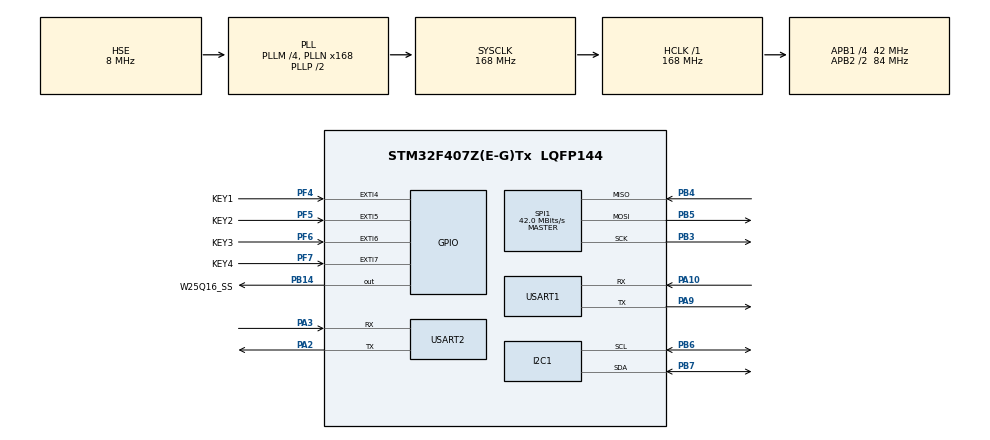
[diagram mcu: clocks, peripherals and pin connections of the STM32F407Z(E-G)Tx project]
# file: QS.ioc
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Dma.Request0=USART1_RX
Dma.Request1=USART1_TX
Dma.Request2=USART2_RX
Dma.Request3=USART2_TX
Dma.USART1_RX.0.Direction=DMA_PERIPH_TO_MEMORY
Dma.USART1_RX.0.FIFOMode=DMA_FIFOMODE_DISABLE
Dma.USART1_RX.0.Instance=DMA2_Stream2
Dma.USART1_RX.0.MemDataAlignment=DMA_MDATAALIGN_BYTE
Dma.USART1_RX.0.MemInc=DMA_MINC_ENABLE
Dma.USART1_RX.0.Mode=DMA_NORMAL
Dma.USART1_RX.0.PeriphDataAlignment=DMA_PDATAALIGN_BYTE
Dma.USART1_RX.0.PeriphInc=DMA_PINC_DISABLE
Dma.USART1_RX.0.Priority=DMA_PRIORITY_LOW
Dma.USART1_TX.1.Direction=DMA_MEMORY_TO_PERIPH
Dma.USART1_TX.1.FIFOMode=DMA_FIFOMODE_DISABLE
Dma.USART1_TX.1.Instance=DMA2_Stream7
Dma.USART1_TX.1.MemDataAlignment=DMA_MDATAALIGN_BYTE
Dma.USART1_TX.1.MemInc=DMA_MINC_ENABLE
Dma.USART1_TX.1.Mode=DMA_NORMAL
Dma.USART1_TX.1.PeriphDataAlignment=DMA_PDATAALIGN_BYTE
Dma.USART1_TX.1.PeriphInc=DMA_PINC_DISABLE
Dma.USART1_TX.1.Priority=DMA_PRIORITY_LOW
Dma.USART2_RX.2.Direction=DMA_PERIPH_TO_MEMORY
Dma.USART2_RX.2.FIFOMode=DMA_FIFOMODE_DISABLE
Dma.USART2_RX.2.Instance=DMA1_Stream5
Dma.USART2_RX.2.MemDataAlignment=DMA_MDATAALIGN_BYTE
Dma.USART2_RX.2.MemInc=DMA_MINC_ENABLE
Dma.USART2_RX.2.Mode=DMA_NORMAL
Dma.USART2_RX.2.PeriphDataAlignment=DMA_PDATAALIGN_BYTE
Dma.USART2_RX.2.PeriphInc=DMA_PINC_DISABLE
Dma.USART2_RX.2.Priority=DMA_PRIORITY_LOW
Dma.USART2_TX.3.Direction=DMA_MEMORY_TO_PERIPH
Dma.USART2_TX.3.FIFOMode=DMA_FIFOMODE_DISABLE
Dma.USART2_TX.3.Instance=DMA1_Stream6
Dma.USART2_TX.3.MemDataAlignment=DMA_MDATAALIGN_BYTE
Dma.USART2_TX.3.MemInc=DMA_MINC_ENABLE
Dma.USART2_TX.3.Mode=DMA_NORMAL
Dma.USART2_TX.3.PeriphDataAlignment=DMA_PDATAALIGN_BYTE
Dma.USART2_TX.3.PeriphInc=DMA_PINC_DISABLE
Dma.USART2_TX.3.Priority=DMA_PRIORITY_LOW
Mcu.Family=STM32F4
Mcu.Name=STM32F407Z(E-G)Tx
Mcu.Package=LQFP144
NVIC.DMA1_Stream5_IRQn=true\:0\:0\:false\:false\:true\:false\:true\:true
NVIC.DMA1_Stream6_IRQn=true\:0\:0\:false\:false\:true\:false\:true\:true
NVIC.DMA2_Stream2_IRQn=true\:0\:0\:false\:false\:true\:false\:true\:true
NVIC.DMA2_Stream7_IRQn=true\:0\:0\:false\:false\:true\:false\:true\:true
NVIC.EXTI4_IRQn=true\:0\:0\:false\:false\:true\:true\:true\:true
NVIC.EXTI9_5_IRQn=true\:0\:0\:false\:false\:true\:true\:true\:true
NVIC.PriorityGroup=NVIC_PRIORITYGROUP_4
NVIC.USART1_IRQn=true\:0\:0\:false\:false\:true\:true\:true\:true
NVIC.USART2_IRQn=true\:0\:0\:false\:false\:true\:true\:true\:true
PA10.Mode=Asynchronous
PA10.Signal=USART1_RX
PA13.Mode=Serial_Wire
PA13.Signal=SYS_JTMS-SWDIO
PA14.Mode=Serial_Wire
PA14.Signal=SYS_JTCK-SWCLK
PA2.Mode=Asynchronous
PA2.Signal=USART2_TX
PA3.Mode=Asynchronous
PA3.Signal=USART2_RX
PA9.Mode=Asynchronous
PA9.Signal=USART1_TX
PB14.GPIO_Label=W25Q16_SS
PB14.PinState=GPIO_PIN_SET
PB14.Signal=GPIO_Output
PB3.Mode=Full_Duplex_Master
PB3.Signal=SPI1_SCK
PB4.Mode=Full_Duplex_Master
PB4.Signal=SPI1_MISO
PB5.Mode=Full_Duplex_Master
PB5.Signal=SPI1_MOSI
PB6.Mode=I2C
PB6.Signal=I2C1_SCL
PB7.Mode=I2C
PB7.Signal=I2C1_SDA
PF4.GPIO_Label=KEY1
PF4.GPIO_ModeDefaultEXTI=GPIO_MODE_IT_FALLING
PF4.GPIO_PuPd=GPIO_PULLUP
PF4.Signal=GPXTI4
PF5.GPIO_Label=KEY2
PF5.GPIO_ModeDefaultEXTI=GPIO_MODE_IT_FALLING
PF5.GPIO_PuPd=GPIO_PULLUP
PF5.Signal=GPXTI5
PF6.GPIO_Label=KEY3
PF6.GPIO_ModeDefaultEXTI=GPIO_MODE_IT_FALLING
PF6.GPIO_PuPd=GPIO_PULLUP
PF6.Signal=GPXTI6
PF7.GPIO_Label=KEY4
PF7.GPIO_ModeDefaultEXTI=GPIO_MODE_IT_FALLING
PF7.GPIO_PuPd=GPIO_PULLUP
PF7.Signal=GPXTI7
PH0-OSC_IN.Mode=HSE-External-Oscillator
PH0-OSC_IN.Signal=RCC_OSC_IN
PH1-OSC_OUT.Mode=HSE-External-Oscillator
PH1-OSC_OUT.Signal=RCC_OSC_OUT
ProjectManager.HeapSize=0x200
ProjectManager.StackSize=0x400
ProjectManager.TargetToolchain=MDK-ARM V5.32
RCC.48MHZClocksFreq_Value=84000000
RCC.AHBFreq_Value=168000000
RCC.APB1CLKDivider=RCC_HCLK_DIV4
RCC.APB1Freq_Value=42000000
RCC.APB1TimFreq_Value=84000000
RCC.APB2CLKDivider=RCC_HCLK_DIV2
RCC.APB2Freq_Value=84000000
RCC.APB2TimFreq_Value=168000000
RCC.CortexFreq_Value=168000000
RCC.HCLKFreq_Value=168000000
RCC.HSE_VALUE=8000000
RCC.HSI_VALUE=16000000
RCC.LSE_VALUE=32768
RCC.PLLM=4
RCC.PLLN=168
RCC.PLLSourceVirtual=RCC_PLLSOURCE_HSE
RCC.SYSCLKFreq_VALUE=168000000
RCC.SYSCLKSource=RCC_SYSCLKSOURCE_PLLCLK
RCC.VCOOutputFreq_Value=336000000
SPI1.CalculateBaudRate=42.0 MBits/s
SPI1.Direction=SPI_DIRECTION_2LINES
SPI1.Mode=SPI_MODE_MASTER
SPI1.VirtualType=VM_MASTER
USART1.VirtualMode=VM_ASYNC
USART2.VirtualMode=VM_ASYNC
board=custom

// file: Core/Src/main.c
/* USER CODE BEGIN Header */
/**
  ******************************************************************************
  * @file           : main.c
  * @brief          : Main program body
  ******************************************************************************
  * @attention
  *
  * Copyright (c) 2026 STMicroelectronics.
  * All rights reserved.
  *
  * This software is licensed under terms that can be found in the LICENSE file
  * in the root directory of this software component.
  * If no LICENSE file comes with this software, it is provided AS-IS.
  *
  ******************************************************************************
  */
/* USER CODE END Header */
#include "main.h"
#include "dma.h"
#include "i2c.h"
#include "spi.h"
#include "usart.h"
#include "gpio.h"

/* USER CODE BEGIN Includes */
#include "stdio.h"
#include <string.h>
#include "./GPS/gps.h"
#include "./OLED/oled.h"
#include "./KEY/key.h"
#include "./W25Q16/bsp_spi_flash.h"
#include "./OLED/oledfont.h"
#include "utf8_gb2312.h"
/* USER CODE END Includes */

/* USER CODE BEGIN PTD */
extern uint8_t get_gps_flag_buf[256];
extern volatile uint8_t nav_text_ready;
extern char nav_text_buf[256];
extern GPS_Data_Typedef GPS_DATA;
extern uint8_t rx_buffer[GPS_DMA_BUF_SIZE];

uint8_t Tx_Buffer[] = "http://firestm32.taobao.com";

#define countof(a)      (sizeof(a) / sizeof(*(a)))
/* USER CODE END PTD */

void SystemClock_Config(void);

int main(void)
{

  /* USER CODE BEGIN 1 */
  char text[30];
  uint32_t FlashID;
  uint8_t font_ready = 0;
  /* USER CODE END 1 */

  /* MCU Configuration--------------------------------------------------------*/

  /* Reset of all peripherals, Initializes the Flash interface and the Systick. */
  HAL_Init();

  /* Configure the system clock */
  SystemClock_Config();

  /* Initialize all configured peripherals */
  MX_GPIO_Init();
  MX_DMA_Init();
  MX_I2C1_Init();
  MX_USART1_UART_Init();
  MX_SPI1_Init();
  MX_USART2_UART_Init();
  /* USER CODE BEGIN 2 */

  /* Initialize W25Q16 SPI Flash */
  SPI_FLASH_Init();
  SPI_FLASH_ClearProtect();   /* clear BP bits, or writes to upper half fail */
  FlashID = SPI_FLASH_ReadID();
  printf("W25Q16 ID: 0x%06lX\r\n", FlashID);

  /* Initialize OLED */
  OLED_Init();
  OLED_Clear();

  if (FlashID == sFLASH_ID)
  {
      font_ready = GB2312_IsFontReady();
      OLED_ShowString(0, 0, font_ready ? "Font OK" : "No Font", 16, 0);
      HAL_Delay(500);
  }
  else
  {
      OLED_ShowString(0, 0, "FLASH ERR!", 16, 0);
      HAL_Delay(2000);
  }

  /* Initialize GPS and start receiving */
  GPS_Init();
  HAL_UARTEx_ReceiveToIdle_DMA(&huart2, get_gps_flag_buf, 32);

  /* Clear screen before main loop */
  OLED_Clear();

  /* USER CODE END 2 */

  /* Infinite loop */
  /* USER CODE BEGIN WHILE */
  while (1)
  {
    /* Display GPS coordinates */
    sprintf(text, "Lat:%.6f", GPS_Get_Latitude());
    OLED_ShowString(0, 0, text, 16, 0);
    sprintf(text, "Lon:%.6f", GPS_Get_Longitude());
    OLED_ShowString(0, 2, text, 16, 0);

    /* Display navigation text from UART2 if available, else show default */
    if (nav_text_ready && font_ready)
    {
        OLED_ShowString_UTF8(0, 4, nav_text_buf, 0);
    }
    else if (font_ready)
    {
        OLED_ShowString(0, 4, "GPS", 16, 0);                     /* ASCII */
        OLED_ShowString_GB2312(24, 4, "\xB6\xC0\xBD\xC7\xCA\xDE", 0);
    }

    key_transmit();
    /* USER CODE END WHILE */

  }
}

void SystemClock_Config(void)
{
  RCC_OscInitTypeDef RCC_OscInitStruct = {0};
  RCC_ClkInitTypeDef RCC_ClkInitStruct = {0};

  /** Configure the main internal regulator output voltage
  */
  __HAL_RCC_PWR_CLK_ENABLE();
  __HAL_PWR_VOLTAGESCALING_CONFIG(PWR_REGULATOR_VOLTAGE_SCALE1);

  /** Initializes the RCC Oscillators according to the specified parameters
  * in the RCC_OscInitTypeDef structure.
  */
  RCC_OscInitStruct.OscillatorType = RCC_OSCILLATORTYPE_HSE;
  RCC_OscInitStruct.HSEState = RCC_HSE_ON;
  RCC_OscInitStruct.PLL.PLLState = RCC_PLL_ON;
  RCC_OscInitStruct.PLL.PLLSource = RCC_PLLSOURCE_HSE;
  RCC_OscInitStruct.PLL.PLLM = 4;
  RCC_OscInitStruct.PLL.PLLN = 168;
  RCC_OscInitStruct.PLL.PLLP = RCC_PLLP_DIV2;
  RCC_OscInitStruct.PLL.PLLQ = 4;
  if (HAL_RCC_OscConfig(&RCC_OscInitStruct) != HAL_OK)
  {
    Error_Handler();
  }

  /** Initializes the CPU, AHB and APB buses clocks
  */
  RCC_ClkInitStruct.ClockType = RCC_CLOCKTYPE_HCLK|RCC_CLOCKTYPE_SYSCLK
                              |RCC_CLOCKTYPE_PCLK1|RCC_CLOCKTYPE_PCLK2;
  RCC_ClkInitStruct.SYSCLKSource = RCC_SYSCLKSOURCE_PLLCLK;
  RCC_ClkInitStruct.AHBCLKDivider = RCC_SYSCLK_DIV1;
  RCC_ClkInitStruct.APB1CLKDivider = RCC_HCLK_DIV4;
  RCC_ClkInitStruct.APB2CLKDivider = RCC_HCLK_DIV2;

  if (HAL_RCC_ClockConfig(&RCC_ClkInitStruct, FLASH_LATENCY_5) != HAL_OK)
  {
    Error_Handler();
  }
}

void Error_Handler(void)
{
  __disable_irq();
  while (1)
  {
  }
}
